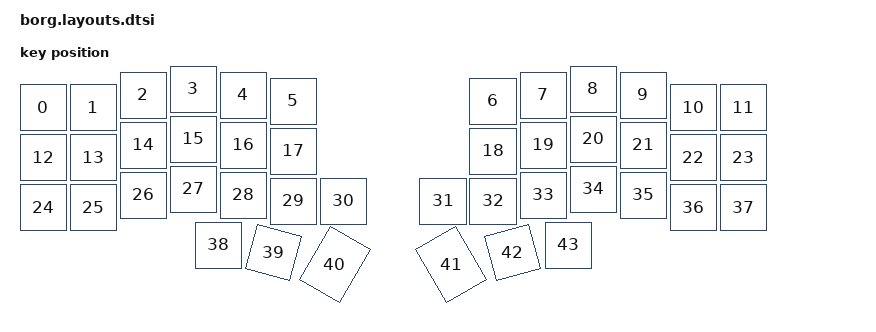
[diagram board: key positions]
#include <physical_layouts.dtsi>

/ {
    physical_layout0: physical_layout_0 {
        compatible = "zmk,physical-layout";
        display-name = "Borg layout";

        kscan = <&kscan0>;
        transform = <&default_transform>;

        keys  //                     w   h    x    y     rot    rx    ry
            = <&key_physical_attrs 100 100    0   37       0     0     0>
            , <&key_physical_attrs 100 100  100   37       0     0     0>
            , <&key_physical_attrs 100 100  200   12       0     0     0>
            , <&key_physical_attrs 100 100  300    0       0     0     0>
            , <&key_physical_attrs 100 100  400   12       0     0     0>
            , <&key_physical_attrs 100 100  500   24       0     0     0>
            , <&key_physical_attrs 100 100  900   24       0     0     0>
            , <&key_physical_attrs 100 100 1000   12       0     0     0>
            , <&key_physical_attrs 100 100 1100    0       0     0     0>
            , <&key_physical_attrs 100 100 1200   12       0     0     0>
            , <&key_physical_attrs 100 100 1300   37       0     0     0>
            , <&key_physical_attrs 100 100 1400   37       0     0     0>
            , <&key_physical_attrs 100 100    0  137       0     0     0>
            , <&key_physical_attrs 100 100  100  137       0     0     0>
            , <&key_physical_attrs 100 100  200  112       0     0     0>
            , <&key_physical_attrs 100 100  300  100       0     0     0>
            , <&key_physical_attrs 100 100  400  112       0     0     0>
            , <&key_physical_attrs 100 100  500  124       0     0     0>
            , <&key_physical_attrs 100 100  900  124       0     0     0>
            , <&key_physical_attrs 100 100 1000  112       0     0     0>
            , <&key_physical_attrs 100 100 1100  100       0     0     0>
            , <&key_physical_attrs 100 100 1200  112       0     0     0>
            , <&key_physical_attrs 100 100 1300  137       0     0     0>
            , <&key_physical_attrs 100 100 1400  137       0     0     0>
            , <&key_physical_attrs 100 100    0  237       0     0     0>
            , <&key_physical_attrs 100 100  100  237       0     0     0>
            , <&key_physical_attrs 100 100  200  212       0     0     0>
            , <&key_physical_attrs 100 100  300  200       0     0     0>
            , <&key_physical_attrs 100 100  400  212       0     0     0>
            , <&key_physical_attrs 100 100  500  224       0     0     0>
            , <&key_physical_attrs 100 100  600  224       0     0     0>
            , <&key_physical_attrs 100 100  800  224       0     0     0>
            , <&key_physical_attrs 100 100  900  224       0     0     0>
            , <&key_physical_attrs 100 100 1000  212       0     0     0>
            , <&key_physical_attrs 100 100 1100  200       0     0     0>
            , <&key_physical_attrs 100 100 1200  212       0     0     0>
            , <&key_physical_attrs 100 100 1300  237       0     0     0>
            , <&key_physical_attrs 100 100 1400  237       0     0     0>
            , <&key_physical_attrs 100 100  350  312       0     0     0>
            , <&key_physical_attrs 100 100  450  312    1500   450   412>
            , <&key_physical_attrs 100 130  548  300    3000   548   450>
            , <&key_physical_attrs 100 130  852  300 (-3000)   952   450>
            , <&key_physical_attrs 100 100  950  312 (-1500)  1050   412>
            , <&key_physical_attrs 100 100 1050  312       0     0     0>
            ;
    };
};
